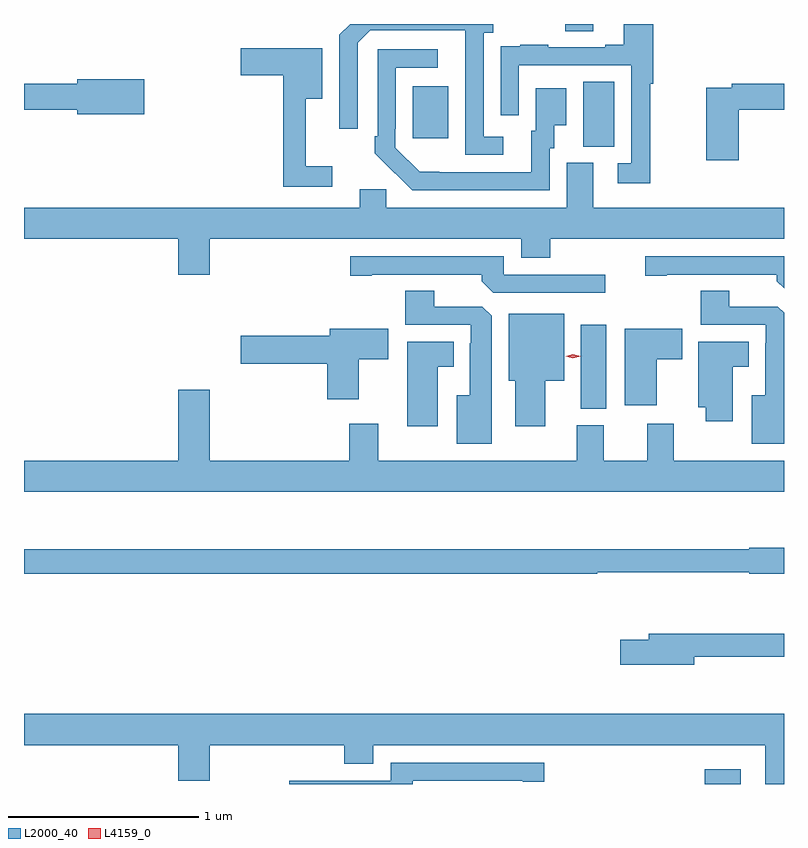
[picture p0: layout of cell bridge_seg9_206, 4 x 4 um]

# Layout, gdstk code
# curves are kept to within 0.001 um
import gdstk
lib = gdstk.Library(unit=1e-6, precision=1e-09)
def R(c, l, rs):  # rectangles x0, y0, x1, y1
    for r in rs: c.add(gdstk.rectangle(r[:2], r[2:], *l))
def P(c, l, *ps):  # polygons
    for p in ps: c.add(gdstk.Polygon(p, *l))
L2000_40 = (2000, 40)
L4159_0 = (4159, 0)

bridge_seg9_206 = lib.new_cell('bridge_seg9_206')
R(bridge_seg9_206, L2000_40, [(167.779,1197.547,167.968,1197.625), (167.126,1199.521,167.26,1199.965), (167.138,1200.901,167.302,1201.244), (166.241,1200.945,166.429,1201.219), (167.044,1201.51,167.191,1201.547)])
P(bridge_seg9_206, L2000_40, [(166.717,1200.954),(166.614,1200.954),(166.614,1201.502),(166.666,1201.502),(166.666,1201.547),(165.911,1201.547),(165.855,1201.491),(165.855,1200.996),(165.951,1200.996),(165.951,1201.449),(166.017,1201.515),(166.517,1201.515),(166.518,1200.858),(166.717,1200.858)],
  [(167.492,1201.232),(167.507,1201.232),(167.507,1201.547),(167.351,1201.547),(167.351,1201.438),(167.255,1201.438),(167.255,1201.425),(166.955,1201.425),(166.955,1201.438),(166.807,1201.438),(166.807,1201.431),(166.705,1201.431),(166.705,1201.322),(166.704,1201.322),(166.704,1201.068),(166.8,1201.068),(166.8,1201.329),(167.391,1201.329),(167.391,1200.813),(167.319,1200.813),(167.319,1200.708),(167.492,1200.708)],
  [(165.817,1200.799),(165.677,1200.799),(165.677,1201.154),(165.766,1201.154),(165.766,1201.419),(165.336,1201.419),(165.336,1201.277),(165.559,1201.277),(165.559,1200.69),(165.817,1200.69)],
  [(166.962,1200.894),(166.987,1200.894),(166.987,1201.013),(167.05,1201.013),(167.05,1201.21),(166.889,1201.21),(166.889,1200.984),(166.865,1200.984),(166.865,1200.768),(166.278,1200.769),(166.149,1200.897),(166.149,1200.997),(166.152,1200.997),(166.152,1201.317),(166.372,1201.317),(166.372,1201.413),(166.056,1201.413),(166.056,1200.955),(166.041,1200.955),(166.041,1200.867),(166.238,1200.672),(166.962,1200.672)],
  [(164.827,1201.256),(164.474,1201.256),(164.474,1201.232),(164.195,1201.232),(164.195,1201.096),(164.474,1201.096),(164.474,1201.073),(164.827,1201.073)],
  [(167.957,1201.096),(168.195,1201.096),(168.195,1201.232),(167.92,1201.232),(167.92,1201.212),(167.786,1201.212),(167.786,1200.831),(167.957,1200.831)],
  [(165.172,1200.416),(166.811,1200.416),(166.811,1200.317),(166.964,1200.317),(166.964,1200.416),(168.195,1200.416),(168.195,1200.58),(167.191,1200.58),(167.191,1200.816),(167.051,1200.816),(167.051,1200.58),(166.101,1200.58),(166.101,1200.678),(165.962,1200.678),(165.962,1200.58),(164.195,1200.58),(164.195,1200.416),(165.008,1200.416),(165.008,1200.228),(165.172,1200.228)],
  [(167.254,1200.228),(166.719,1200.228),(166.719,1200.324),(165.912,1200.324),(165.912,1200.223),(166.024,1200.223),(166.024,1200.228),(166.604,1200.228),(166.604,1200.194),(166.665,1200.132),(167.254,1200.132)],
  [(168.195,1200.324),(167.466,1200.324),(167.466,1200.223),(167.578,1200.223),(167.578,1200.228),(168.158,1200.228),(168.158,1200.194),(168.195,1200.156)],
  [(168.195,1200.027),(168.162,1200.06),(167.908,1200.06),(167.908,1200.143),(167.756,1200.143),(167.756,1199.964),(168.099,1199.964),(168.099,1199.867),(168.095,1199.867),(168.095,1199.593),(168.026,1199.593),(168.026,1199.339),(168.195,1199.339)],
  [(166.657,1200.011),(166.608,1200.06),(166.354,1200.06),(166.354,1200.143),(166.202,1200.143),(166.202,1199.964),(166.545,1199.964),(166.545,1199.867),(166.541,1199.867),(166.541,1199.593),(166.472,1199.593),(166.472,1199.339),(166.657,1199.339)],
  [(166.939,1199.669),(167.038,1199.669),(167.038,1200.022),(166.745,1200.022),(166.745,1199.669),(166.781,1199.669),(166.781,1199.43),(166.939,1199.43)],
  [(165.958,1199.782),(166.111,1199.782),(166.111,1199.944),(165.803,1199.944),(165.803,1199.906),(165.336,1199.906),(165.336,1199.759),(165.791,1199.759),(165.791,1199.571),(165.958,1199.571)],
  [(167.524,1199.782),(167.659,1199.782),(167.659,1199.944),(167.357,1199.944),(167.357,1199.541),(167.524,1199.541)],
  [(167.926,1199.744),(168.01,1199.744),(168.01,1199.875),(167.744,1199.875),(167.744,1199.531),(167.783,1199.531),(167.783,1199.457),(167.926,1199.457)],
  [(166.372,1199.744),(166.456,1199.744),(166.456,1199.875),(166.211,1199.875),(166.211,1199.43),(166.372,1199.43)],
  [(168.195,1199.248),(167.614,1199.248),(167.614,1199.443),(167.474,1199.443),(167.474,1199.248),(167.245,1199.248),(167.245,1199.436),(167.105,1199.436),(167.105,1199.248),(166.06,1199.248),(166.06,1199.443),(165.908,1199.443),(165.908,1199.248),(165.172,1199.248),(165.172,1199.623),(165.008,1199.623),(165.008,1199.248),(164.195,1199.248),(164.195,1199.084),(168.195,1199.084)],
  [(167.212,1198.662),(168.012,1198.662),(168.012,1198.654),(168.195,1198.654),(168.195,1198.791),(168.012,1198.791),(168.012,1198.783),(164.195,1198.783),(164.195,1198.654),(167.212,1198.654)],
  [(167.722,1198.218),(168.195,1198.218),(168.195,1198.339),(167.483,1198.339),(167.483,1198.305),(167.334,1198.305),(167.334,1198.175),(167.722,1198.175)],
  [(168.195,1197.916),(164.195,1197.916),(164.195,1197.752),(165.008,1197.752),(165.008,1197.564),(165.172,1197.564),(165.172,1197.752),(165.881,1197.752),(165.881,1197.653),(166.033,1197.653),(166.033,1197.752),(168.095,1197.752),(168.095,1197.547),(168.195,1197.547)],
  [(166.241,1197.564),(166.82,1197.564),(166.82,1197.559),(166.933,1197.559),(166.933,1197.66),(166.125,1197.66),(166.125,1197.564),(165.591,1197.564),(165.591,1197.547),(166.241,1197.547)])
P(bridge_seg9_206, L4159_0, [(167.084,1199.789),(167.045,1199.799),(167.044,1199.799),(167.045,1199.799),(167.084,1199.809),(167.124,1199.799),(167.124,1199.798),(167.124,1199.798)])

lib.write_gds('bridge_seg9_206.gds')
